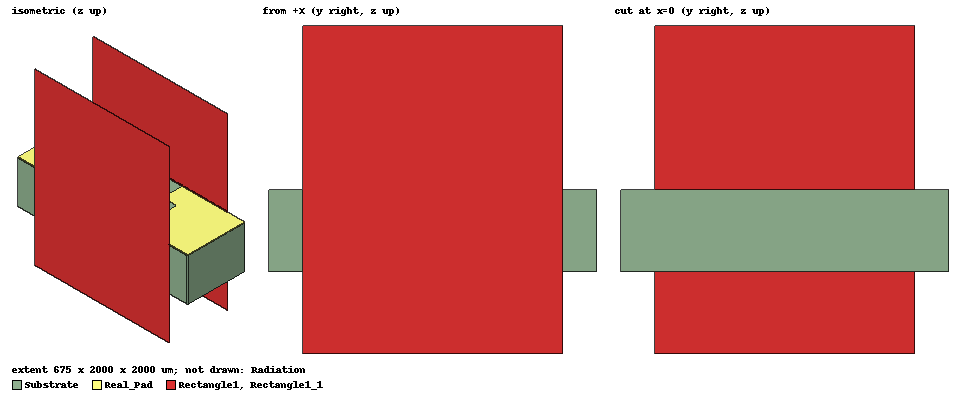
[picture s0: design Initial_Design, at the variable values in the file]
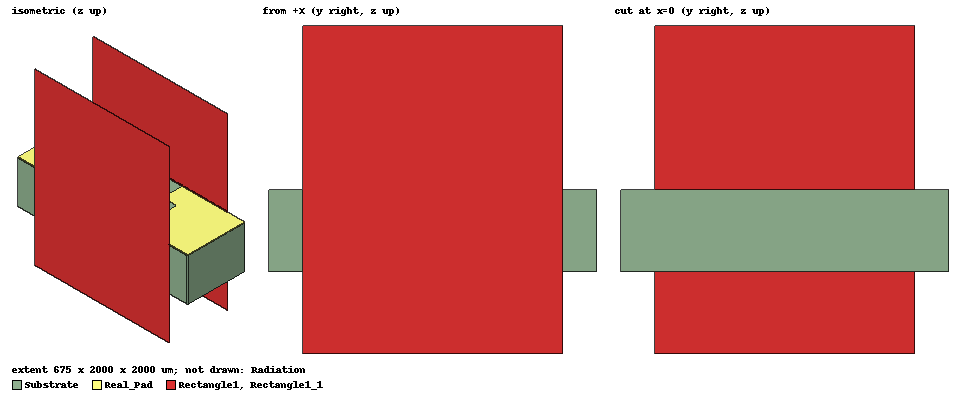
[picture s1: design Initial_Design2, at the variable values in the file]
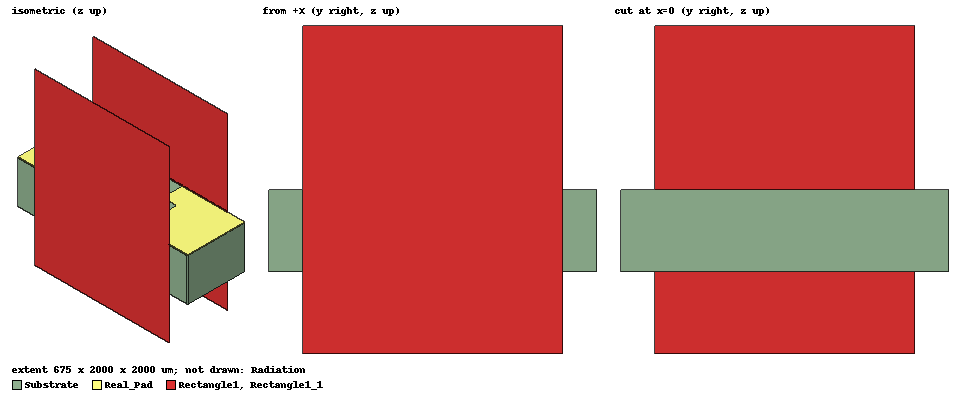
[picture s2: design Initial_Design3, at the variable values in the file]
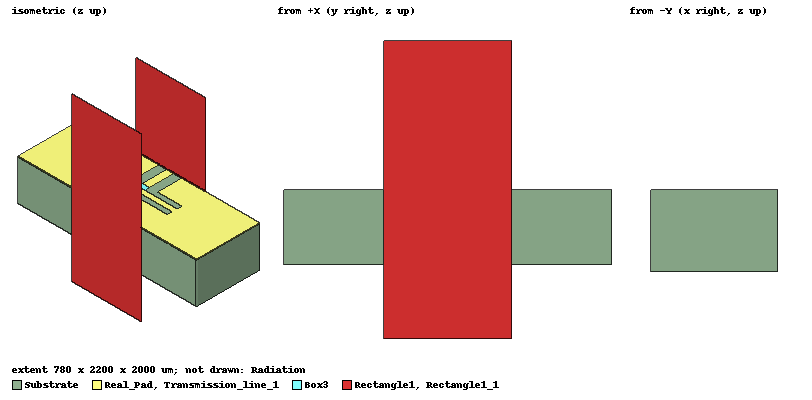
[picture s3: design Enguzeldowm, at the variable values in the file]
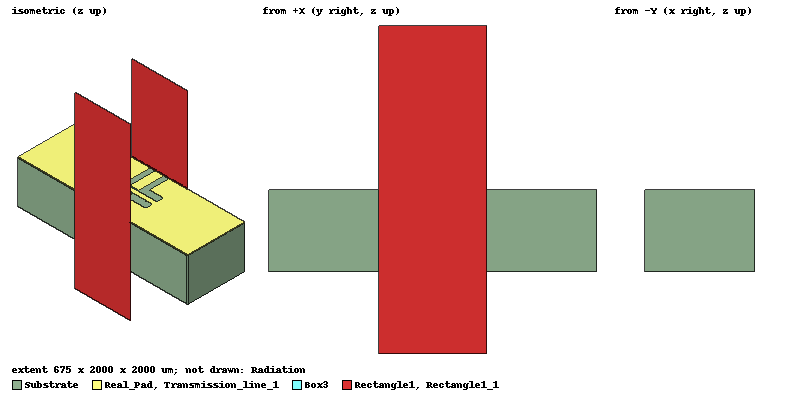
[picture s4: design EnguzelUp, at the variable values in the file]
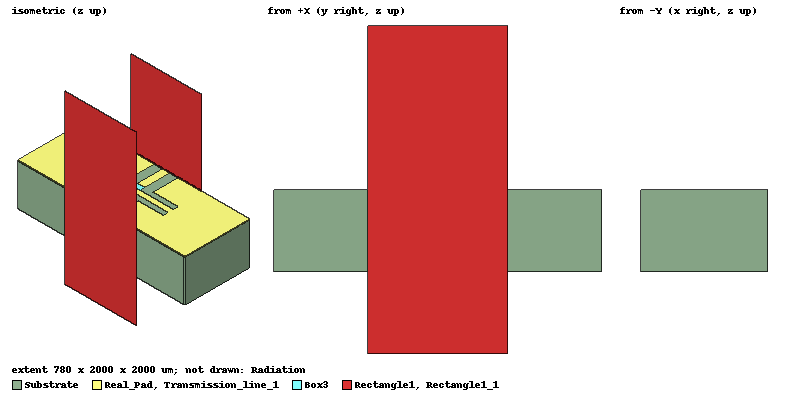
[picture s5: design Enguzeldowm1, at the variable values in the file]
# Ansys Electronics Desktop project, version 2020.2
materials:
  vacuum: permittivity=1
  glass: permittivity=5.5
  gold: permeability=0.99996 conductivity=41000000
  silicon_nitrate: permittivity=7
  air: permittivity=1.0006 permeability=1.0000004

design Initial_Design (HFSS, DrivenModal, model units um)
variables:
  L_Model = (L_tl_Unmatched+ L_Recess)
  W_Model = 2000um
  L_Recess = max(W_Bridge, W_real_pad)*1.5
  W_Recess = L_Bridge
  h_Recess = t_gold+t_dielectric
  t_gold = 1um
  W_signal = 190um
  L_tl_Unmatched = 600um
  W_gap = 170um
  L_Gold_Recess = 165um
  W_Bridge = 50um
  W_Gold_Recess = 80um
  L_Bridge = 400um
  W_Lower_Pad = W_signal
  t_dielectric = 0.3um
  W_Anchor = 60um
  W_Upper_Pad = W_signal
  L_Upper_Pad = W_Bridge
  Bridge_Height = 0
  t_substrate = 500um
  Lambda = 11530479nm
  W_real_pad = 50um
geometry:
  Substrate [glass] = box(corner=(-(L_tl_Unmatched+ L_Recess)/2, - W_Model/2, 0um), size=(L_tl_Unmatched + L_Recess, W_Model, -t_substrate))
  Recess = box(corner=(-L_Recess/2, -W_Recess/2, 0), size=(L_Recess, W_Recess, -h_Recess))
  Transmission_line = box(corner=(L_Recess/2, -W_signal/2, 0um), size=(L_tl_Unmatched/2, W_signal, t_gold))
  Substrate.subtract(Recess)
  Transmission_line_1 [gold] = Transmission_line.duplicate_around_axis(axis=Z, angle=180deg, total=2)
  Ground_Plane = box(corner=(-L_tl_Unmatched/2-L_Recess/2, W_signal/2 +W_gap, 0um), size=(L_tl_Unmatched + L_Recess, (W_Model-2*W_gap-W_signal)/2, t_gold))
  Gold_Recess = box(corner=(-W_Gold_Recess-W_Bridge/2, -(W_signal+2*W_gap+2*L_Gold_Recess)/2, 0um), size=(2*W_Gold_Recess+ W_Bridge, W_signal+2*W_gap+2*L_Gold_Recess, t_gold))
  Box1 = box(corner=(-L_Recess/2, -W_Lower_Pad/2, -h_Recess), size=(L_Recess, W_Lower_Pad, t_gold))
  Box2 = box(corner=(-L_Recess/2, -W_Lower_Pad/2, -h_Recess+t_gold), size=(t_gold, W_Lower_Pad, h_Recess))
  Box2_1 = Box2.duplicate_around_axis(axis=Z, angle=180deg, total=2)
  Box3 [silicon_nitrate] = box(corner=(-L_Recess/2  +1.5um, -W_Lower_Pad/2 - 1.5um, -h_Recess), size=(L_Recess-3um, W_Lower_Pad+3um, t_gold+t_dielectric))
  Box1_1 = Box1.copy()
  Box3.subtract(Box1_1)
  Anchor_Path = box(corner=(-W_Bridge/2, -W_signal/2-L_Gold_Recess-W_gap, 0um), size=(W_Bridge, W_signal/2 +L_Gold_Recess +W_gap - W_Recess/2, t_gold))
  Ground_Plane.subtract(Gold_Recess)
  Ground_Plane_1 = Ground_Plane.duplicate_around_axis(axis=Z, angle=180deg, total=2)
  Anchor_Path_1 = Anchor_Path.duplicate_around_axis(axis=Z, angle=180deg, total=2)
  Anchor = box(corner=(-W_Bridge/2, W_Recess/2, t_gold), size=(W_Bridge, W_Anchor, t_gold))
  Anchor_1 = Anchor.duplicate_around_axis(axis=Z, angle=180deg, total=2)
  Upper_Pad = box(corner=(-L_Upper_Pad/2, -W_Upper_Pad/2, Bridge_Height), size=(L_Upper_Pad, W_Upper_Pad, t_gold))
  Polyline1 = polyline(x=L_Upper_Pad/2, yz: (W_Upper_Pad/2, t_gold+Bridge_Height) (W_Recess/2, t_gold+t_gold) (W_Recess/2, t_gold) (W_Upper_Pad/2, Bridge_Height) (W_Upper_Pad/2, t_gold+Bridge_Height), closed, covered)
  Polyline1.sweep_along_vector((-W_Bridge, 0um, 0um))
  Polyline1_1 = Polyline1.duplicate_around_axis(axis=Z, angle=180deg, total=2)
  Anchor_1.unite(Anchor, Anchor_Path_1, Ground_Plane, Polyline1, Polyline1_1, Upper_Pad, Anchor_Path, Ground_Plane_1)
  Rectangle1 = rectangle(corner=(L_Model/2, -3*(W_signal+2*W_gap)/2, -2*t_substrate), y_size=3*(W_signal+2*W_gap), z_size=4*t_substrate)
  Rectangle1_1 = Rectangle1.duplicate_around_axis(axis=Z, angle=180deg, total=2)
  Radiation [air] = box(corner=(-L_Model/2, -Lambda/8, -Lambda/8), size=(L_Model, Lambda/4, Lambda/4))
  Transmission_line_1.unite(Box2, Box1, Box2_1, Transmission_line)
  Real_Pad [gold] = box(corner=(-W_real_pad/2, -W_signal/2, Bridge_Height), size=(W_real_pad, W_signal, t_gold))
  Real_Pad.unite(Anchor_1)
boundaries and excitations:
  PerfH1: Perfect H Faces=Radiation.face(+x, -x)
  Rad1: Radiation Faces=Radiation.face(+z, +y, -z, -y)
  1: Wave Port Objects=Rectangle1 NumModes=1 Modes{Mode1{CharImp=Zpi}}
  2: Wave Port Objects=Rectangle1_1 NumModes=1 Modes{Mode1{CharImp=Zpi}}
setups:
  Setup1: HfssDriven Frequency=26GHz MaxDeltaS=0.001 MaximumPasses=10 MinimumPasses=1 MinimumConvergedPasses=1 PercentRefinement=30 BasisOrder=1 PortAccuracy=2
    sweep Sweep: 1GHz to 40GHz, 50 points; Type=Interpolating InterpTolerance=0.5 InterpMaxSolns=250 InterpUsePortImped=false PassivityErrorTolerance=0.0001
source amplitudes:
  1:1: 1W 0deg
  2:1: 0W 0deg
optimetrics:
  L_Gold_Recess: Parametric Sim._Setups=[Setup1]
    sweep L_Gold_Recess: LINC 145um 185um 5
  W_Gold_Recess: Parametric Sim._Setups=[Setup1]
    sweep W_Gold_Recess: LINC 60um 100um 5
  W_Signal: Parametric Sim._Setups=[Setup1]
    sweep W_signal: LINC 150um 230um 5
  L_Tl: Parametric Sim._Setups=[Setup1]
    sweep L_tl_Unmatched: LINC 400um 800um 5
  W_Bridge: Parametric Sim._Setups=[Setup1]
    sweep W_Bridge: LINC 30um 70um 5
  L_Bridge: Parametric Sim._Setups=[Setup1]
    sweep L_Bridge: LINC 200um 600um 5
  W_Gap: Parametric Sim._Setups=[Setup1]
    sweep W_gap: LINC 100um 240um 5
  t_dielectric: Parametric Sim._Setups=[Setup1]
    sweep t_dielectric: LINC 0.1um 0.5um 5
  W_Pad: Parametric Sim._Setups=[Setup1]
    sweep W_real_pad: LINC 50um 150um 5
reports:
  S Parameter Plot 1:
  S Parameter Plot 2: dB(S(2,1)) vs Freq on Setup1 : Sweep [W_real_pad=50um,75um,100um,125um,150um]
  S Parameter Plot 3: dB(S(2,1)) vs Freq on Setup1 : Sweep [W_signal=150um,170um,190um,210um,230um]
  Z Parameter Plot 1: mag(Z(2,1)) vs Freq on Setup1 : Sweep

design Initial_Design1 (HFSS, DrivenModal, model units um)
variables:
  t = 500um
  L_Model = (L_tl_Unmatched+ L_Recess)
  W_Model = 2000um
  L_Recess = 75um
  W_Recess = 400um
  h_Recess = 1.3u
  t_gold = 1um
  W_signal = 190um
  W_tl = 192um
  L_tl = 600um
  L_tl_Unmatched = 600um
  W_gap = 170um
  L_tl_unmatchet = 600um
  L_Gold_Recess = 165um
  W_Bridge = 50um
  W_Gold_Recess = 80um
  L_Bridge = 400um
  W_Lower_Pad = W_signal
  t_dielectric = 0.3um
  W_Anchor = 60um
  W_Upper_Pad = W_signal
  L_Upper_Pad = W_Bridge meter
  Bridge_Height = 0
  t_substrate = 500um
  Lambda = 11530479nm
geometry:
  Substrate [glass] = box(corner=(-(L_tl_Unmatched+ L_Recess)/2, - W_Model/2, 0um), size=(L_tl_Unmatched + L_Recess, W_Model, -t_substrate))
  Recess = box(corner=(-L_Recess/2, -W_Recess/2, 0), size=(L_Recess, W_Recess, -h_Recess))
  Transmission_line = box(corner=(L_Recess/2, -W_signal/2, 0um), size=(L_tl_Unmatched/2, W_signal, t_gold))
  Substrate.subtract(Recess)
  Transmission_line_1 [gold] = Transmission_line.duplicate_around_axis(axis=Z, angle=180deg, total=2)
  Ground_Plane = box(corner=(-L_tl_Unmatched/2-L_Recess/2, W_signal/2 +W_gap, 0um), size=(L_tl_Unmatched + L_Recess, (W_Model-2*W_gap-W_signal)/2, t_gold))
  Gold_Recess = box(corner=(-W_Gold_Recess-W_Bridge/2, -(W_signal+2*W_gap+2*L_Gold_Recess)/2, 0um), size=(2*W_Gold_Recess+ W_Bridge, W_signal+2*W_gap+2*L_Gold_Recess, t_gold))
  Box1 = box(corner=(-L_Recess/2, -W_Lower_Pad/2, -h_Recess), size=(L_Recess, W_Lower_Pad, t_gold))
  Box2 = box(corner=(-L_Recess/2, -W_Lower_Pad/2, -h_Recess+t_gold), size=(t_gold, W_Lower_Pad, h_Recess))
  Box2_1 = Box2.duplicate_around_axis(axis=Z, angle=180deg, total=2)
  Box3 [silicon_nitrate] = box(corner=(-L_Recess/2  +1.5um, -W_Lower_Pad/2 - 1.5um, -h_Recess), size=(L_Recess-3um, W_Lower_Pad+3um, t_gold+t_dielectric))
  Box1_1 = Box1.copy()
  Box3.subtract(Box1_1)
  Anchor_Path = box(corner=(-W_Bridge/2, -W_signal/2-L_Gold_Recess-W_gap, 0um), size=(W_Bridge, W_signal/2 +L_Gold_Recess +W_gap - W_Recess/2, t_gold))
  Ground_Plane.subtract(Gold_Recess)
  Ground_Plane_1 = Ground_Plane.duplicate_around_axis(axis=Z, angle=180deg, total=2)
  Anchor_Path_1 = Anchor_Path.duplicate_around_axis(axis=Z, angle=180deg, total=2)
  Anchor = box(corner=(-W_Bridge/2, W_Recess/2, t_gold), size=(W_Bridge, W_Anchor, t_gold))
  Anchor_1 [gold] = Anchor.duplicate_around_axis(axis=Z, angle=180deg, total=2)
  Upper_Pad = box(corner=(-L_Upper_Pad/2, -W_Upper_Pad/2, Bridge_Height), size=(L_Upper_Pad, W_Upper_Pad, t_gold))
  Polyline1 = polyline(x=L_Upper_Pad/2, yz: (W_Upper_Pad/2, t_gold+Bridge_Height) (W_Recess/2, t_gold+t_gold) (W_Recess/2, t_gold) (W_Upper_Pad/2, Bridge_Height) (W_Upper_Pad/2, t_gold+Bridge_Height), closed, covered)
  Polyline1.sweep_along_vector((-W_Bridge, 0um, 0um))
  Polyline1_1 = Polyline1.duplicate_around_axis(axis=Z, angle=180deg, total=2)
  Anchor_1.unite(Anchor, Anchor_Path_1, Ground_Plane, Polyline1, Polyline1_1, Upper_Pad, Anchor_Path, Ground_Plane_1)
  Rectangle1 = rectangle(corner=(L_Model/2, -3*(W_signal+2*W_gap)/2, -2*t_substrate), y_size=3*(W_signal+2*W_gap), z_size=4*t_substrate)
  Rectangle1_1 = Rectangle1.duplicate_around_axis(axis=Z, angle=180deg, total=2)
  Box4 [air] = box(corner=(-L_Model/2, -Lambda/8, -Lambda/8), size=(L_Model, Lambda/4, Lambda/4))
  Transmission_line_1.unite(Box2, Box1, Box2_1, Transmission_line)
  [Substrate, Transmission_line_1, Box3, Anchor_1, Rectangle1, Rectangle1_1, Box4].split(plane=ZX, keep=PositiveOnly)
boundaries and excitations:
  PerfH1: Perfect H Faces=Box4.face(+x, -x)
  Rad1: Radiation Faces=Box4.face(+z, +y, -z)
  Sym1: Symmetry Faces=Box4.face(at (0, 0, 0)) IsPerfectE=false
  1: Wave Port Objects=Rectangle1 NumModes=1 Modes{Mode1{CharImp=Zpi}}
  2: Wave Port Objects=Rectangle1_1 NumModes=1 Modes{Mode1{CharImp=Zpi}}
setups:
  Setup1: HfssDriven Frequency=26GHz MaxDeltaS=0.001 MaximumPasses=10 MinimumPasses=1 MinimumConvergedPasses=1 PercentRefinement=30 BasisOrder=1 PortAccuracy=2
    sweep Sweep: 1GHz to 40GHz, 50 points; Type=Interpolating InterpTolerance=0.5 InterpMaxSolns=250 InterpUsePortImped=false PassivityErrorTolerance=0.0001
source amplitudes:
  1:1: 1W 0deg
  2:1: 0W 0deg
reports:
  S Parameter Plot 1: dB(S(1,2)) vs Freq on Setup1 : Sweep
  Z Parameter Plot 1: dB20(Z(1,2)) vs Freq on Setup1 : Sweep; markers m1 at 25.673469GHz

design Initial_Design2 (HFSS, DrivenModal, model units um)
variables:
  t = 500um
  L_Model = (L_tl_Unmatched+ L_Recess)
  W_Model = 2000um
  L_Recess = max(W_Bridge, W_real_pad)*1.5
  W_Recess = L_Bridge
  h_Recess = t_gold+t_dielectric
  t_gold = 1um
  W_signal = 190um
  W_tl = 192um
  L_tl = 600um
  L_tl_Unmatched = 600um
  W_gap = 170um
  L_tl_unmatchet = 600um
  L_Gold_Recess = 165um
  W_Bridge = 50um
  W_Gold_Recess = 80um
  L_Bridge = 400um
  W_Lower_Pad = W_signal
  t_dielectric = 0.3um
  W_Anchor = 60um
  W_Upper_Pad = W_signal
  L_Upper_Pad = W_Bridge
  Bridge_Height = 0
  t_substrate = 500um
  Lambda = 11530479nm
  W_real_pad = 50um
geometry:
  Substrate [glass] = box(corner=(-(L_tl_Unmatched+ L_Recess)/2, - W_Model/2, 0um), size=(L_tl_Unmatched + L_Recess, W_Model, -t_substrate))
  Recess = box(corner=(-L_Recess/2, -W_Recess/2, 0), size=(L_Recess, W_Recess, -h_Recess))
  Transmission_line = box(corner=(L_Recess/2, -W_signal/2, 0um), size=(L_tl_Unmatched/2, W_signal, t_gold))
  Substrate.subtract(Recess)
  Transmission_line_1 [gold] = Transmission_line.duplicate_around_axis(axis=Z, angle=180deg, total=2)
  Ground_Plane = box(corner=(-L_tl_Unmatched/2-L_Recess/2, W_signal/2 +W_gap, 0um), size=(L_tl_Unmatched + L_Recess, (W_Model-2*W_gap-W_signal)/2, t_gold))
  Gold_Recess = box(corner=(-W_Gold_Recess-W_Bridge/2, -(W_signal+2*W_gap+2*L_Gold_Recess)/2, 0um), size=(2*W_Gold_Recess+ W_Bridge, W_signal+2*W_gap+2*L_Gold_Recess, t_gold))
  Box1 = box(corner=(-L_Recess/2, -W_Lower_Pad/2, -h_Recess), size=(L_Recess, W_Lower_Pad, t_gold))
  Box2 = box(corner=(-L_Recess/2, -W_Lower_Pad/2, -h_Recess+t_gold), size=(t_gold, W_Lower_Pad, h_Recess))
  Box2_1 = Box2.duplicate_around_axis(axis=Z, angle=180deg, total=2)
  Box3 [silicon_nitrate] = box(corner=(-L_Recess/2  +1.5um, -W_Lower_Pad/2 - 1.5um, -h_Recess), size=(L_Recess-3um, W_Lower_Pad+3um, t_gold+t_dielectric))
  Box1_1 = Box1.copy()
  Box3.subtract(Box1_1)
  Anchor_Path = box(corner=(-W_Bridge/2, -W_signal/2-L_Gold_Recess-W_gap, 0um), size=(W_Bridge, W_signal/2 +L_Gold_Recess +W_gap - W_Recess/2, t_gold))
  Ground_Plane.subtract(Gold_Recess)
  Ground_Plane_1 = Ground_Plane.duplicate_around_axis(axis=Z, angle=180deg, total=2)
  Anchor_Path_1 = Anchor_Path.duplicate_around_axis(axis=Z, angle=180deg, total=2)
  Anchor = box(corner=(-W_Bridge/2, W_Recess/2, t_gold), size=(W_Bridge, W_Anchor, t_gold))
  Anchor_1 = Anchor.duplicate_around_axis(axis=Z, angle=180deg, total=2)
  Upper_Pad = box(corner=(-L_Upper_Pad/2, -W_Upper_Pad/2, Bridge_Height), size=(L_Upper_Pad, W_Upper_Pad, t_gold))
  Polyline1 = polyline(x=L_Upper_Pad/2, yz: (W_Upper_Pad/2, t_gold+Bridge_Height) (W_Recess/2, t_gold+t_gold) (W_Recess/2, t_gold) (W_Upper_Pad/2, Bridge_Height) (W_Upper_Pad/2, t_gold+Bridge_Height), closed, covered)
  Polyline1.sweep_along_vector((-W_Bridge, 0um, 0um))
  Polyline1_1 = Polyline1.duplicate_around_axis(axis=Z, angle=180deg, total=2)
  Anchor_1.unite(Anchor, Anchor_Path_1, Ground_Plane, Polyline1, Polyline1_1, Upper_Pad, Anchor_Path, Ground_Plane_1)
  Rectangle1 = rectangle(corner=(L_Model/2, -3*(W_signal+2*W_gap)/2, -2*t_substrate), y_size=3*(W_signal+2*W_gap), z_size=4*t_substrate)
  Rectangle1_1 = Rectangle1.duplicate_around_axis(axis=Z, angle=180deg, total=2)
  Radiation [air] = box(corner=(-L_Model/2, -Lambda/8, -Lambda/8), size=(L_Model, Lambda/4, Lambda/4))
  Transmission_line_1.unite(Box2, Box1, Box2_1, Transmission_line)
  Real_Pad [gold] = box(corner=(-W_real_pad/2, -W_signal/2, Bridge_Height), size=(W_real_pad, W_signal, t_gold))
  Real_Pad.unite(Anchor_1)
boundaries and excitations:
  PerfH1: Perfect H Faces=Radiation.face(+x, -x)
  Rad1: Radiation Faces=Radiation.face(+z, +y, -z, -y)
  1: Wave Port Objects=Rectangle1 NumModes=1 Modes{Mode1{CharImp=Zpi}}
  2: Wave Port Objects=Rectangle1_1 NumModes=1 Modes{Mode1{CharImp=Zpi}}
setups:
  Setup1: HfssDriven Frequency=26GHz MaxDeltaS=0.001 MaximumPasses=10 MinimumPasses=1 MinimumConvergedPasses=1 PercentRefinement=30 BasisOrder=1 PortAccuracy=2
    sweep Sweep: 1GHz to 40GHz, 50 points; Type=Interpolating InterpTolerance=0.5 InterpMaxSolns=250 InterpUsePortImped=false PassivityErrorTolerance=0.0001
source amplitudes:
  1:1: 1W 0deg
  2:1: 0W 0deg
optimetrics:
  ParametricSetup1: Parametric Sim._Setups=[Setup1]
    sweep t_dielectric: LINC 0.1um 0.5um 5
    sweep W_real_pad: LINC 30um 70um 5
    sweep W_Bridge: LINC 30um 70um 5
    sweep L_Bridge: LINC 200um 600um 5
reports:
  S Parameter Plot 1: dB(S(2,1)) vs Freq on Setup1 : Sweep [W_Bridge=30um,40um,50um L_Bridge=200um,300um,400um,500um,600um t_dielectric=0.1um,0.2um,0.3um,0.4um,0.5um W_real_pad=30um,40um,50um]
  Z Parameter Plot 1: dB20(Z(1,2)) vs Freq on Setup1 : Sweep [t_dielectric=0.15um,0.25um,0.3um,0.35um,0.45um]; markers m1 at 25.673469GHz

design Initial_Design3 (HFSS, DrivenModal, model units um)
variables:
  L_Model = (L_tl_Unmatched+ L_Recess)
  W_Model = 2000um
  L_Recess = max(W_Bridge, W_real_pad)*1.5
  W_Recess = L_Bridge
  h_Recess = t_gold+t_dielectric
  t_gold = 1um
  W_signal = 190um
  L_tl_Unmatched = 600um
  W_gap = 170um
  L_Gold_Recess = 165um
  W_Bridge = 50um
  W_Gold_Recess = 80um
  L_Bridge = 400um
  W_Lower_Pad = W_signal
  t_dielectric = 0.3um
  W_Anchor = 60um
  W_Upper_Pad = W_signal
  L_Upper_Pad = W_Bridge
  Bridge_Height = t_gold
  t_substrate = 500um
  Lambda = 11530479nm
  W_real_pad = 50um
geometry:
  Substrate [glass] = box(corner=(-(L_tl_Unmatched+ L_Recess)/2, - W_Model/2, 0um), size=(L_tl_Unmatched + L_Recess, W_Model, -t_substrate))
  Recess = box(corner=(-L_Recess/2, -W_Recess/2, 0), size=(L_Recess, W_Recess, -h_Recess))
  Transmission_line = box(corner=(L_Recess/2, -W_signal/2, 0um), size=(L_tl_Unmatched/2, W_signal, t_gold))
  Substrate.subtract(Recess)
  Transmission_line_1 [gold] = Transmission_line.duplicate_around_axis(axis=Z, angle=180deg, total=2)
  Ground_Plane = box(corner=(-L_tl_Unmatched/2-L_Recess/2, W_signal/2 +W_gap, 0um), size=(L_tl_Unmatched + L_Recess, (W_Model-2*W_gap-W_signal)/2, t_gold))
  Gold_Recess = box(corner=(-W_Gold_Recess-W_Bridge/2, -(W_signal+2*W_gap+2*L_Gold_Recess)/2, 0um), size=(2*W_Gold_Recess+ W_Bridge, W_signal+2*W_gap+2*L_Gold_Recess, t_gold))
  Box1 = box(corner=(-L_Recess/2, -W_Lower_Pad/2, -h_Recess), size=(L_Recess, W_Lower_Pad, t_gold))
  Box2 = box(corner=(-L_Recess/2, -W_Lower_Pad/2, -h_Recess+t_gold), size=(t_gold, W_Lower_Pad, h_Recess))
  Box2_1 = Box2.duplicate_around_axis(axis=Z, angle=180deg, total=2)
  Box3 [silicon_nitrate] = box(corner=(-L_Recess/2  +1.5um, -W_Lower_Pad/2 - 1.5um, -h_Recess), size=(L_Recess-3um, W_Lower_Pad+3um, t_gold+t_dielectric))
  Box1_1 = Box1.copy()
  Box3.subtract(Box1_1)
  Anchor_Path = box(corner=(-W_Bridge/2, -W_signal/2-L_Gold_Recess-W_gap, 0um), size=(W_Bridge, W_signal/2 +L_Gold_Recess +W_gap - W_Recess/2, t_gold))
  Ground_Plane.subtract(Gold_Recess)
  Ground_Plane_1 = Ground_Plane.duplicate_around_axis(axis=Z, angle=180deg, total=2)
  Anchor_Path_1 = Anchor_Path.duplicate_around_axis(axis=Z, angle=180deg, total=2)
  Anchor = box(corner=(-W_Bridge/2, W_Recess/2, t_gold), size=(W_Bridge, W_Anchor, t_gold))
  Anchor_1 = Anchor.duplicate_around_axis(axis=Z, angle=180deg, total=2)
  Upper_Pad = box(corner=(-L_Upper_Pad/2, -W_Upper_Pad/2, Bridge_Height), size=(L_Upper_Pad, W_Upper_Pad, t_gold))
  Polyline1 = polyline(x=L_Upper_Pad/2, yz: (W_Upper_Pad/2, t_gold+Bridge_Height) (W_Recess/2, t_gold+t_gold) (W_Recess/2, t_gold) (W_Upper_Pad/2, Bridge_Height) (W_Upper_Pad/2, t_gold+Bridge_Height), closed, covered)
  Polyline1.sweep_along_vector((-W_Bridge, 0um, 0um))
  Polyline1_1 = Polyline1.duplicate_around_axis(axis=Z, angle=180deg, total=2)
  Anchor_1.unite(Anchor, Anchor_Path_1, Ground_Plane, Polyline1, Polyline1_1, Upper_Pad, Anchor_Path, Ground_Plane_1)
  Rectangle1 = rectangle(corner=(L_Model/2, -3*(W_signal+2*W_gap)/2, -2*t_substrate), y_size=3*(W_signal+2*W_gap), z_size=4*t_substrate)
  Rectangle1_1 = Rectangle1.duplicate_around_axis(axis=Z, angle=180deg, total=2)
  Radiation [air] = box(corner=(-L_Model/2, -Lambda/8, -Lambda/8), size=(L_Model, Lambda/4, Lambda/4))
  Transmission_line_1.unite(Box2, Box1, Box2_1, Transmission_line)
  Real_Pad [gold] = box(corner=(-W_real_pad/2, -W_signal/2, Bridge_Height), size=(W_real_pad, W_signal, t_gold))
  Real_Pad.unite(Anchor_1)
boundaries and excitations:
  PerfH1: Perfect H Faces=Radiation.face(+x, -x)
  Rad1: Radiation Faces=Radiation.face(+z, +y, -z, -y)
  1: Wave Port Objects=Rectangle1 NumModes=1 Modes{Mode1{CharImp=Zpi}}
  2: Wave Port Objects=Rectangle1_1 NumModes=1 Modes{Mode1{CharImp=Zpi}}
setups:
  Setup1: HfssDriven Frequency=26GHz MaxDeltaS=0.001 MaximumPasses=10 MinimumPasses=1 MinimumConvergedPasses=1 PercentRefinement=30 BasisOrder=1 PortAccuracy=2
    sweep Sweep: 1GHz to 40GHz, 50 points; Type=Interpolating InterpTolerance=0.5 InterpMaxSolns=250 InterpUsePortImped=false PassivityErrorTolerance=0.0001
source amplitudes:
  1:1: 1W 0deg
  2:1: 0W 0deg
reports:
  S Parameter Plot 1:
  S Parameter Plot 2: dB(S(2,1)) vs Freq on Setup1 : Sweep [W_real_pad=50um,75um,100um,125um,150um]
  S Parameter Plot 3: dB(S(2,1)) vs Freq on Setup1 : Sweep [W_signal=150um,170um,190um,210um,230um]
  Z Parameter Plot 1: mag(Z(2,1)) vs Freq on Setup1 : Sweep

design Enguzeldowm (HFSS, DrivenModal, model units um)
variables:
  L_Model = (L_tl_Unmatched+ L_Recess)
  W_Model = 2200um
  L_Recess = max(W_Bridge, W_real_pad)*3
  W_Recess = L_Bridge
  h_Recess = t_gold+t_dielectric
  t_gold = 1um
  W_signal = 85um
  L_tl_Unmatched = 600um
  W_gap = 100um
  L_Gold_Recess = 300um
  W_Bridge = 60um
  W_Gold_Recess = 60um
  L_Bridge = 400um
  W_Lower_Pad = W_signal
  t_dielectric = 0.5um
  W_Anchor = 60um
  W_Upper_Pad = W_signal
  L_Upper_Pad = W_Bridge
  Bridge_Height = 0
  t_substrate = 500um
  Lambda = 11530479nm
  W_real_pad = 60um
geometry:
  Substrate [glass] = box(corner=(-(L_tl_Unmatched+ L_Recess)/2, - W_Model/2, 0um), size=(L_tl_Unmatched + L_Recess, W_Model, -t_substrate))
  Recess = box(corner=(-L_Recess/2, -W_Recess/2, 0), size=(L_Recess, W_Recess, -h_Recess))
  Transmission_line = box(corner=(L_Recess/2, -W_signal/2, 0um), size=(L_tl_Unmatched/2, W_signal, t_gold))
  Substrate.subtract(Recess)
  Transmission_line_1 [gold] = Transmission_line.duplicate_around_axis(axis=Z, angle=180deg, total=2)
  Ground_Plane = box(corner=(-L_tl_Unmatched/2-L_Recess/2, W_signal/2 +W_gap, 0um), size=(L_tl_Unmatched + L_Recess, (W_Model-2*W_gap-W_signal)/2, t_gold))
  Gold_Recess = box(corner=(-W_Gold_Recess-W_Bridge/2, -(W_signal+2*W_gap+2*L_Gold_Recess)/2, 0um), size=(2*W_Gold_Recess+ W_Bridge, W_signal+2*W_gap+2*L_Gold_Recess, t_gold))
  Box1 = box(corner=(-L_Recess/2, -W_Lower_Pad/2, -h_Recess), size=(L_Recess, W_Lower_Pad, t_gold))
  Box2 = box(corner=(-L_Recess/2, -W_Lower_Pad/2, -h_Recess+t_gold), size=(t_gold, W_Lower_Pad, h_Recess))
  Box2_1 = Box2.duplicate_around_axis(axis=Z, angle=180deg, total=2)
  Box3 [silicon_nitrate] = box(corner=(-L_Recess/2  +1.5um, -W_Lower_Pad/2 - 1.5um, -h_Recess), size=(L_Recess-3um, W_Lower_Pad+3um, t_gold+t_dielectric))
  Box1_1 = Box1.copy()
  Box3.subtract(Box1_1)
  Anchor_Path = box(corner=(-W_Bridge/2, -W_signal/2-L_Gold_Recess-W_gap, 0um), size=(W_Bridge, W_signal/2 +L_Gold_Recess +W_gap - W_Recess/2, t_gold))
  Ground_Plane.subtract(Gold_Recess)
  Ground_Plane_1 = Ground_Plane.duplicate_around_axis(axis=Z, angle=180deg, total=2)
  Anchor_Path_1 = Anchor_Path.duplicate_around_axis(axis=Z, angle=180deg, total=2)
  Anchor = box(corner=(-W_Bridge/2, W_Recess/2, t_gold), size=(W_Bridge, W_Anchor, t_gold))
  Anchor_1 = Anchor.duplicate_around_axis(axis=Z, angle=180deg, total=2)
  Upper_Pad = box(corner=(-L_Upper_Pad/2, -W_Upper_Pad/2, Bridge_Height), size=(L_Upper_Pad, W_Upper_Pad, t_gold))
  Polyline1 = polyline(x=L_Upper_Pad/2, yz: (W_Upper_Pad/2, t_gold+Bridge_Height) (W_Recess/2, t_gold+t_gold) (W_Recess/2, t_gold) (W_Upper_Pad/2, Bridge_Height) (W_Upper_Pad/2, t_gold+Bridge_Height), closed, covered)
  Polyline1.sweep_along_vector((-W_Bridge, 0um, 0um))
  Polyline1_1 = Polyline1.duplicate_around_axis(axis=Z, angle=180deg, total=2)
  Anchor_1.unite(Anchor, Anchor_Path_1, Ground_Plane, Polyline1, Polyline1_1, Upper_Pad, Anchor_Path, Ground_Plane_1)
  Rectangle1 = rectangle(corner=(L_Model/2, -3*(W_signal+2*W_gap)/2, -2*t_substrate), y_size=3*(W_signal+2*W_gap), z_size=4*t_substrate)
  Rectangle1_1 = Rectangle1.duplicate_around_axis(axis=Z, angle=180deg, total=2)
  Radiation [air] = box(corner=(-L_Model/2, -Lambda/8, -Lambda/8), size=(L_Model, Lambda/4, Lambda/4))
  Transmission_line_1.unite(Box2, Box1, Box2_1, Transmission_line)
  Real_Pad [gold] = box(corner=(-W_real_pad/2, -W_signal/2, Bridge_Height), size=(W_real_pad, W_signal, t_gold))
  Real_Pad.unite(Anchor_1)
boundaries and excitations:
  PerfH1: Perfect H Faces=Radiation.face(+x, -x)
  Rad1: Radiation Faces=Radiation.face(+z, +y, -z, -y)
  1: Wave Port Objects=Rectangle1 NumModes=1 Modes{Mode1{CharImp=Zpi}}
  2: Wave Port Objects=Rectangle1_1 NumModes=1 Modes{Mode1{CharImp=Zpi}}
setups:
  Setup1: HfssDriven Frequency=26GHz MaxDeltaS=0.005 MaximumPasses=10 MinimumPasses=1 MinimumConvergedPasses=1 PercentRefinement=30 BasisOrder=1 PortAccuracy=2
    sweep Sweep: 1GHz to 40GHz, 400 points; Type=Discrete
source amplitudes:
  1:1: 1W 0deg
  2:1: 0W 0deg
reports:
  S Parameter Plot 1: dB(S(2,1)) vs Freq on Setup1 : Sweep; markers m1 at 26GHz
  S Parameter Plot 2: ang_deg(S(2,1)) vs Freq on Setup1 : Sweep

design EnguzelUp (HFSS, DrivenModal, model units um)
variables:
  L_Model = (L_tl_Unmatched+ L_Recess)
  W_Model = 2000um
  L_Recess = max(W_Bridge, W_real_pad)*1.5
  W_Recess = L_Bridge
  h_Recess = t_gold+t_dielectric
  t_gold = 1um
  W_signal = 100um
  L_tl_Unmatched = 600um
  W_gap = 60um
  L_Gold_Recess = 165um
  W_Bridge = 50um
  W_Gold_Recess = 80um
  L_Bridge = 400um
  W_Lower_Pad = W_signal
  t_dielectric = 0.3um
  W_Anchor = 60um
  W_Upper_Pad = W_signal
  L_Upper_Pad = W_Bridge
  Bridge_Height = t_gold
  t_substrate = 500um
  Lambda = 11530479nm
  W_real_pad = 50um
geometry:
  Substrate [glass] = box(corner=(-(L_tl_Unmatched+ L_Recess)/2, - W_Model/2, 0um), size=(L_tl_Unmatched + L_Recess, W_Model, -t_substrate))
  Recess = box(corner=(-L_Recess/2, -W_Recess/2, 0), size=(L_Recess, W_Recess, -h_Recess))
  Transmission_line = box(corner=(L_Recess/2, -W_signal/2, 0um), size=(L_tl_Unmatched/2, W_signal, t_gold))
  Substrate.subtract(Recess)
  Transmission_line_1 [gold] = Transmission_line.duplicate_around_axis(axis=Z, angle=180deg, total=2)
  Ground_Plane = box(corner=(-L_tl_Unmatched/2-L_Recess/2, W_signal/2 +W_gap, 0um), size=(L_tl_Unmatched + L_Recess, (W_Model-2*W_gap-W_signal)/2, t_gold))
  Gold_Recess = box(corner=(-W_Gold_Recess-W_Bridge/2, -(W_signal+2*W_gap+2*L_Gold_Recess)/2, 0um), size=(2*W_Gold_Recess+ W_Bridge, W_signal+2*W_gap+2*L_Gold_Recess, t_gold))
  Box1 = box(corner=(-L_Recess/2, -W_Lower_Pad/2, -h_Recess), size=(L_Recess, W_Lower_Pad, t_gold))
  Box2 = box(corner=(-L_Recess/2, -W_Lower_Pad/2, -h_Recess+t_gold), size=(t_gold, W_Lower_Pad, h_Recess))
  Box2_1 = Box2.duplicate_around_axis(axis=Z, angle=180deg, total=2)
  Box3 [silicon_nitrate] = box(corner=(-L_Recess/2  +1.5um, -W_Lower_Pad/2 - 1.5um, -h_Recess), size=(L_Recess-3um, W_Lower_Pad+3um, t_gold+t_dielectric))
  Box1_1 = Box1.copy()
  Box3.subtract(Box1_1)
  Anchor_Path = box(corner=(-W_Bridge/2, -W_signal/2-L_Gold_Recess-W_gap, 0um), size=(W_Bridge, W_signal/2 +L_Gold_Recess +W_gap - W_Recess/2, t_gold))
  Ground_Plane.subtract(Gold_Recess)
  Ground_Plane_1 = Ground_Plane.duplicate_around_axis(axis=Z, angle=180deg, total=2)
  Anchor_Path_1 = Anchor_Path.duplicate_around_axis(axis=Z, angle=180deg, total=2)
  Anchor = box(corner=(-W_Bridge/2, W_Recess/2, t_gold), size=(W_Bridge, W_Anchor, t_gold))
  Anchor_1 = Anchor.duplicate_around_axis(axis=Z, angle=180deg, total=2)
  Upper_Pad = box(corner=(-L_Upper_Pad/2, -W_Upper_Pad/2, Bridge_Height), size=(L_Upper_Pad, W_Upper_Pad, t_gold))
  Polyline1 = polyline(x=L_Upper_Pad/2, yz: (W_Upper_Pad/2, t_gold+Bridge_Height) (W_Recess/2, t_gold+t_gold) (W_Recess/2, t_gold) (W_Upper_Pad/2, Bridge_Height) (W_Upper_Pad/2, t_gold+Bridge_Height), closed, covered)
  Polyline1.sweep_along_vector((-W_Bridge, 0um, 0um))
  Polyline1_1 = Polyline1.duplicate_around_axis(axis=Z, angle=180deg, total=2)
  Anchor_1.unite(Anchor, Anchor_Path_1, Ground_Plane, Polyline1, Polyline1_1, Upper_Pad, Anchor_Path, Ground_Plane_1)
  Rectangle1 = rectangle(corner=(L_Model/2, -3*(W_signal+2*W_gap)/2, -2*t_substrate), y_size=3*(W_signal+2*W_gap), z_size=4*t_substrate)
  Rectangle1_1 = Rectangle1.duplicate_around_axis(axis=Z, angle=180deg, total=2)
  Radiation [air] = box(corner=(-L_Model/2, -Lambda/8, -Lambda/8), size=(L_Model, Lambda/4, Lambda/4))
  Transmission_line_1.unite(Box2, Box1, Box2_1, Transmission_line)
  Real_Pad [gold] = box(corner=(-W_real_pad/2, -W_signal/2, Bridge_Height), size=(W_real_pad, W_signal, t_gold))
  Real_Pad.unite(Anchor_1)
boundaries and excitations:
  PerfH1: Perfect H Faces=Radiation.face(+x, -x)
  Rad1: Radiation Faces=Radiation.face(+z, +y, -z, -y)
  1: Wave Port Objects=Rectangle1 NumModes=1 Modes{Mode1{CharImp=Zpi}}
  2: Wave Port Objects=Rectangle1_1 NumModes=1 Modes{Mode1{CharImp=Zpi}}
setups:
  Setup1: HfssDriven Frequency=26GHz MaxDeltaS=0.001 MaximumPasses=10 MinimumPasses=1 MinimumConvergedPasses=1 PercentRefinement=30 BasisOrder=1 PortAccuracy=2
    sweep Sweep: 0.1GHz to 50GHz, 50 points; Type=Discrete
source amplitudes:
  1:1: 1W 0deg
  2:1: 0W 0deg
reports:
  S Parameter Plot 1: dB20(Z(2,1)) vs Freq on Setup1 : Sweep; markers m2 at 26.577551GHz

design Enguzeldowm1 (HFSS, DrivenModal, model units um)
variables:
  L_Model = (L_tl_Unmatched+ L_Recess)
  W_Model = 2000um
  L_Recess = max(W_Bridge, W_real_pad)*3
  W_Recess = L_Bridge
  h_Recess = t_gold+t_dielectric
  t_gold = 1um
  W_signal = 85um
  L_tl_Unmatched = 600um
  W_gap = 100um
  L_Gold_Recess = 300um
  W_Bridge = 60um
  W_Gold_Recess = 60um
  L_Bridge = 400um
  W_Lower_Pad = W_signal
  t_dielectric = 0.5um
  W_Anchor = 60um
  W_Upper_Pad = W_signal
  L_Upper_Pad = W_Bridge
  Bridge_Height = t_gold
  t_substrate = 500um
  Lambda = 11530479nm
  W_real_pad = 60um
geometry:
  Substrate [glass] = box(corner=(-(L_tl_Unmatched+ L_Recess)/2, - W_Model/2, 0um), size=(L_tl_Unmatched + L_Recess, W_Model, -t_substrate))
  Recess = box(corner=(-L_Recess/2, -W_Recess/2, 0), size=(L_Recess, W_Recess, -h_Recess))
  Transmission_line = box(corner=(L_Recess/2, -W_signal/2, 0um), size=(L_tl_Unmatched/2, W_signal, t_gold))
  Substrate.subtract(Recess)
  Transmission_line_1 [gold] = Transmission_line.duplicate_around_axis(axis=Z, angle=180deg, total=2)
  Ground_Plane = box(corner=(-L_tl_Unmatched/2-L_Recess/2, W_signal/2 +W_gap, 0um), size=(L_tl_Unmatched + L_Recess, (W_Model-2*W_gap-W_signal)/2, t_gold))
  Gold_Recess = box(corner=(-W_Gold_Recess-W_Bridge/2, -(W_signal+2*W_gap+2*L_Gold_Recess)/2, 0um), size=(2*W_Gold_Recess+ W_Bridge, W_signal+2*W_gap+2*L_Gold_Recess, t_gold))
  Box1 = box(corner=(-L_Recess/2, -W_Lower_Pad/2, -h_Recess), size=(L_Recess, W_Lower_Pad, t_gold))
  Box2 = box(corner=(-L_Recess/2, -W_Lower_Pad/2, -h_Recess+t_gold), size=(t_gold, W_Lower_Pad, h_Recess))
  Box2_1 = Box2.duplicate_around_axis(axis=Z, angle=180deg, total=2)
  Box3 [silicon_nitrate] = box(corner=(-L_Recess/2  +1.5um, -W_Lower_Pad/2 - 1.5um, -h_Recess), size=(L_Recess-3um, W_Lower_Pad+3um, t_gold+t_dielectric))
  Box1_1 = Box1.copy()
  Box3.subtract(Box1_1)
  Anchor_Path = box(corner=(-W_Bridge/2, -W_signal/2-L_Gold_Recess-W_gap, 0um), size=(W_Bridge, W_signal/2 +L_Gold_Recess +W_gap - W_Recess/2, t_gold))
  Ground_Plane.subtract(Gold_Recess)
  Ground_Plane_1 = Ground_Plane.duplicate_around_axis(axis=Z, angle=180deg, total=2)
  Anchor_Path_1 = Anchor_Path.duplicate_around_axis(axis=Z, angle=180deg, total=2)
  Anchor = box(corner=(-W_Bridge/2, W_Recess/2, t_gold), size=(W_Bridge, W_Anchor, t_gold))
  Anchor_1 = Anchor.duplicate_around_axis(axis=Z, angle=180deg, total=2)
  Upper_Pad = box(corner=(-L_Upper_Pad/2, -W_Upper_Pad/2, Bridge_Height), size=(L_Upper_Pad, W_Upper_Pad, t_gold))
  Polyline1 = polyline(x=L_Upper_Pad/2, yz: (W_Upper_Pad/2, t_gold+Bridge_Height) (W_Recess/2, t_gold+t_gold) (W_Recess/2, t_gold) (W_Upper_Pad/2, Bridge_Height) (W_Upper_Pad/2, t_gold+Bridge_Height), closed, covered)
  Polyline1.sweep_along_vector((-W_Bridge, 0um, 0um))
  Polyline1_1 = Polyline1.duplicate_around_axis(axis=Z, angle=180deg, total=2)
  Anchor_1.unite(Anchor, Anchor_Path_1, Ground_Plane, Polyline1, Polyline1_1, Upper_Pad, Anchor_Path, Ground_Plane_1)
  Rectangle1 = rectangle(corner=(L_Model/2, -3*(W_signal+2*W_gap)/2, -2*t_substrate), y_size=3*(W_signal+2*W_gap), z_size=4*t_substrate)
  Rectangle1_1 = Rectangle1.duplicate_around_axis(axis=Z, angle=180deg, total=2)
  Radiation [air] = box(corner=(-L_Model/2, -Lambda/8, -Lambda/8), size=(L_Model, Lambda/4, Lambda/4))
  Transmission_line_1.unite(Box2, Box1, Box2_1, Transmission_line)
  Real_Pad [gold] = box(corner=(-W_real_pad/2, -W_signal/2, Bridge_Height), size=(W_real_pad, W_signal, t_gold))
  Real_Pad.unite(Anchor_1)
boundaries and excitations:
  PerfH1: Perfect H Faces=Radiation.face(+x, -x)
  Rad1: Radiation Faces=Radiation.face(+z, +y, -z, -y)
  1: Wave Port Objects=Rectangle1 NumModes=1 Modes{Mode1{CharImp=Zpi}}
  2: Wave Port Objects=Rectangle1_1 NumModes=1 Modes{Mode1{CharImp=Zpi}}
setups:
  Setup1: HfssDriven Frequency=26GHz MaxDeltaS=0.001 MaximumPasses=5 MinimumPasses=1 MinimumConvergedPasses=1 PercentRefinement=30 BasisOrder=1 PortAccuracy=2
    sweep Sweep: 1GHz to 35GHz step 0.2GHz; Type=Discrete
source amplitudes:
  1:1: 1W 0deg
  2:1: 0W 0deg
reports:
  S Parameter Plot 1: ang_deg(S(1,2)) vs Freq on Setup1 : Sweep; markers m1 at 26GHz

design EnguzeldUpp (HFSS, DrivenModal, model units um)
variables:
  L_Model = (L_tl_Unmatched+ L_Recess)
  W_Model = 2200um
  L_Recess = max(W_Bridge, W_real_pad)*3
  W_Recess = L_Bridge
  h_Recess = t_gold+t_dielectric
  t_gold = 1um
  W_signal = 85um
  L_tl_Unmatched = 600um
  W_gap = 100um
  L_Gold_Recess = 300um
  W_Bridge = 60um
  W_Gold_Recess = 60um
  L_Bridge = 400um
  W_Lower_Pad = W_signal
  t_dielectric = 0.5um
  W_Anchor = 60um
  W_Upper_Pad = W_signal
  L_Upper_Pad = W_Bridge
  Bridge_Height = 1u
  t_substrate = 500um
  Lambda = 11530479nm
  W_real_pad = 60um
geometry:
  Substrate [glass] = box(corner=(-(L_tl_Unmatched+ L_Recess)/2, - W_Model/2, 0um), size=(L_tl_Unmatched + L_Recess, W_Model, -t_substrate))
  Recess = box(corner=(-L_Recess/2, -W_Recess/2, 0), size=(L_Recess, W_Recess, -h_Recess))
  Transmission_line = box(corner=(L_Recess/2, -W_signal/2, 0um), size=(L_tl_Unmatched/2, W_signal, t_gold))
  Substrate.subtract(Recess)
  Transmission_line_1 [gold] = Transmission_line.duplicate_around_axis(axis=Z, angle=180deg, total=2)
  Ground_Plane = box(corner=(-L_tl_Unmatched/2-L_Recess/2, W_signal/2 +W_gap, 0um), size=(L_tl_Unmatched + L_Recess, (W_Model-2*W_gap-W_signal)/2, t_gold))
  Gold_Recess = box(corner=(-W_Gold_Recess-W_Bridge/2, -(W_signal+2*W_gap+2*L_Gold_Recess)/2, 0um), size=(2*W_Gold_Recess+ W_Bridge, W_signal+2*W_gap+2*L_Gold_Recess, t_gold))
  Box1 = box(corner=(-L_Recess/2, -W_Lower_Pad/2, -h_Recess), size=(L_Recess, W_Lower_Pad, t_gold))
  Box2 = box(corner=(-L_Recess/2, -W_Lower_Pad/2, -h_Recess+t_gold), size=(t_gold, W_Lower_Pad, h_Recess))
  Box2_1 = Box2.duplicate_around_axis(axis=Z, angle=180deg, total=2)
  Box3 [silicon_nitrate] = box(corner=(-L_Recess/2  +1.5um, -W_Lower_Pad/2 - 1.5um, -h_Recess), size=(L_Recess-3um, W_Lower_Pad+3um, t_gold+t_dielectric))
  Box1_1 = Box1.copy()
  Box3.subtract(Box1_1)
  Anchor_Path = box(corner=(-W_Bridge/2, -W_signal/2-L_Gold_Recess-W_gap, 0um), size=(W_Bridge, W_signal/2 +L_Gold_Recess +W_gap - W_Recess/2, t_gold))
  Ground_Plane.subtract(Gold_Recess)
  Ground_Plane_1 = Ground_Plane.duplicate_around_axis(axis=Z, angle=180deg, total=2)
  Anchor_Path_1 = Anchor_Path.duplicate_around_axis(axis=Z, angle=180deg, total=2)
  Anchor = box(corner=(-W_Bridge/2, W_Recess/2, t_gold), size=(W_Bridge, W_Anchor, t_gold))
  Anchor_1 = Anchor.duplicate_around_axis(axis=Z, angle=180deg, total=2)
  Upper_Pad = box(corner=(-L_Upper_Pad/2, -W_Upper_Pad/2, Bridge_Height), size=(L_Upper_Pad, W_Upper_Pad, t_gold))
  Polyline1 = polyline(x=L_Upper_Pad/2, yz: (W_Upper_Pad/2, t_gold+Bridge_Height) (W_Recess/2, t_gold+t_gold) (W_Recess/2, t_gold) (W_Upper_Pad/2, Bridge_Height) (W_Upper_Pad/2, t_gold+Bridge_Height), closed, covered)
  Polyline1.sweep_along_vector((-W_Bridge, 0um, 0um))
  Polyline1_1 = Polyline1.duplicate_around_axis(axis=Z, angle=180deg, total=2)
  Anchor_1.unite(Anchor, Anchor_Path_1, Ground_Plane, Polyline1, Polyline1_1, Upper_Pad, Anchor_Path, Ground_Plane_1)
  Rectangle1 = rectangle(corner=(L_Model/2, -3*(W_signal+2*W_gap)/2, -2*t_substrate), y_size=3*(W_signal+2*W_gap), z_size=4*t_substrate)
  Rectangle1_1 = Rectangle1.duplicate_around_axis(axis=Z, angle=180deg, total=2)
  Radiation [air] = box(corner=(-L_Model/2, -Lambda/8, -Lambda/8), size=(L_Model, Lambda/4, Lambda/4))
  Transmission_line_1.unite(Box2, Box1, Box2_1, Transmission_line)
  Real_Pad [gold] = box(corner=(-W_real_pad/2, -W_signal/2, Bridge_Height), size=(W_real_pad, W_signal, t_gold))
  Real_Pad.unite(Anchor_1)
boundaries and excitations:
  PerfH1: Perfect H Faces=Radiation.face(+x, -x)
  Rad1: Radiation Faces=Radiation.face(+z, +y, -z, -y)
  1: Wave Port Objects=Rectangle1 NumModes=1 Modes{Mode1{CharImp=Zpi}}
  2: Wave Port Objects=Rectangle1_1 NumModes=1 Modes{Mode1{CharImp=Zpi}}
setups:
  Setup1: HfssDriven Frequency=26GHz MaxDeltaS=0.005 MaximumPasses=10 MinimumPasses=1 MinimumConvergedPasses=1 PercentRefinement=30 BasisOrder=1 PortAccuracy=2
    sweep Sweep: 1GHz to 40GHz, 400 points; Type=Discrete
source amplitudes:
  1:1: 1W 0deg
  2:1: 0W 0deg
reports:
  S Parameter Plot 1: dB(S(2,1)), dB(S(1,1)) vs Freq on Setup1 : Sweep; markers m1 at 26GHz
  S Parameter Plot 2: ang_deg(S(2,1)) vs Freq on Setup1 : Sweep
